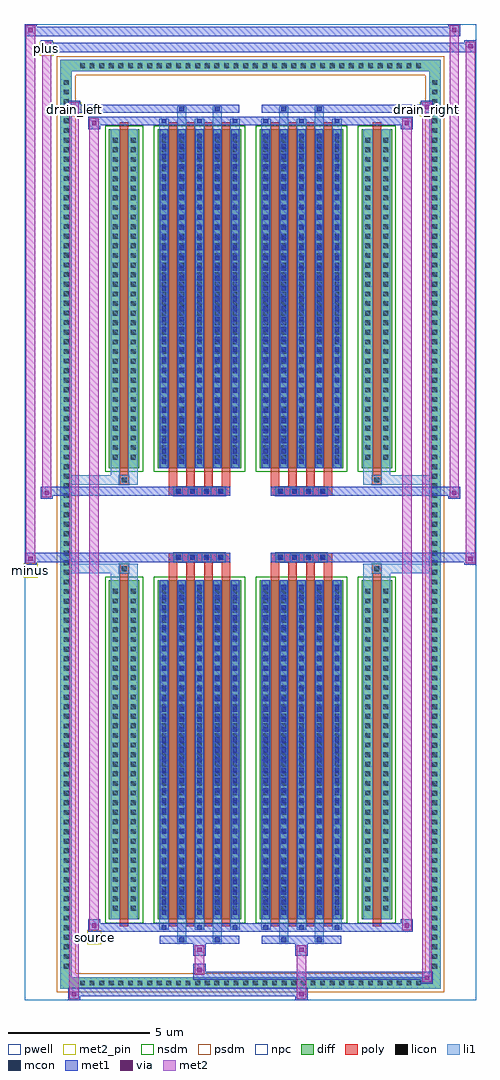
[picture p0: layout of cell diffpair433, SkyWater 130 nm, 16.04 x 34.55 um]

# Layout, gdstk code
import gdstk
lib = gdstk.Library(unit=1e-6, precision=5e-09)
def R(c, l, rs):  # rectangles x0, y0, x1, y1
    for r in rs: c.add(gdstk.rectangle(r[:2], r[2:], *l))
def A(c, l, x, y, w, h, nx, ny, dx, dy):  # array of equal rectangles
    R(c, l, [(x+i*dx, y+j*dy, x+i*dx+w, y+j*dy+h) for i in range(nx) for j in range(ny)])
def P(c, l, *ps):  # polygons
    for p in ps: c.add(gdstk.Polygon(p, *l))
pwell = (64, 44)
diff = (65, 20)
poly = (66, 20)
licon = (66, 44)
li1 = (67, 20)
mcon = (67, 44)
met1 = (68, 20)
via = (68, 44)
met2_pin = (69, 16)
met2 = (69, 20)
nsdm = (93, 44)
psdm = (94, 20)
npc = (95, 20)

diffpair433 = lib.new_cell('diffpair433')
R(diffpair433, pwell, [(-8,-16.84,8,17.71), (-5.32,-15.03,-0.01,-0.805), (0.01,-15.03,5.32,-0.805), (-5.32,0.805,-0.01,15.03), (0.01,0.805,5.32,15.03)])
A(diffpair433, diff, -6.155, -16.44, 0.41, 0.41, 36, 2, 0.34, 32.47)
A(diffpair433, diff, -6.73, -15.845, 0.41, 0.41, 1, 93, 0, 0.34)
A(diffpair433, diff, 6.32, -15.845, 0.41, 0.41, 1, 93, 0, 0.34)
R(diffpair433, diff, [(-6.155,-16.44,6.155,-16.03), (-6.73,-15.845,-6.32,15.845), (6.32,-15.845,6.73,15.845), (-5.01,-13.985,-3.93,-1.985), (-3.29,-13.985,-0.32,-1.985), (0.32,-13.985,3.29,-1.985), (3.93,-13.985,5.01,-1.985), (-5.01,1.985,-3.93,13.985), (-3.29,1.985,-0.32,13.985), (0.32,1.985,3.29,13.985), (3.93,1.985,5.01,13.985), (-6.155,16.03,6.155,16.44)])
P(diffpair433, diff, [(6.73,16.44),(-6.73,16.44),(-6.73,-16.03),(-6.32,-16.03),(-6.32,16.03),(6.32,16.03),(6.32,-16.03),(-6.32,-16.03),(-6.73,-16.03),(-6.73,-16.44),(6.73,-16.44)])
A(diffpair433, poly, -2.9, -14.235, 0.3, 12.5, 4, 2, 0.63, 15.97)
A(diffpair433, poly, 0.71, -14.235, 0.3, 12.5, 4, 2, 0.63, 15.97)
A(diffpair433, poly, -2.9, -1.735, 0.3, 0.4, 4, 2, 0.63, 3.07)
A(diffpair433, poly, 0.71, -1.735, 0.3, 0.4, 4, 2, 0.63, 3.07)
A(diffpair433, poly, -2.72, -1.335, 0.33, 0.33, 4, 2, 0.5, 2.34)
A(diffpair433, poly, 0.89, -1.335, 0.33, 0.33, 4, 2, 0.5, 2.34)
R(diffpair433, poly, [(-4.62,-14.235,-4.32,-1.735), (4.32,-14.235,4.62,-1.735), (-4.635,-1.735,-4.305,-1.405), (-4.635,-1.735,-4.305,-1.405), (4.305,-1.735,4.635,-1.405), (4.305,-1.735,4.635,-1.405), (-2.9,-1.335,-0.71,-1.005), (0.71,-1.335,2.9,-1.005), (-2.9,1.005,-0.71,1.335), (0.71,1.005,2.9,1.335), (-4.635,1.405,-4.305,1.735), (-4.635,1.405,-4.305,1.735), (4.305,1.405,4.635,1.735), (4.305,1.405,4.635,1.735), (-4.62,1.735,-4.32,14.235), (4.32,1.735,4.62,14.235)])
A(diffpair433, licon, -6.035, -16.32, 0.17, 0.17, 36, 2, 0.34, 32.47)
A(diffpair433, licon, -6.61, -15.725, 0.17, 0.17, 1, 93, 0, 0.34)
A(diffpair433, licon, 6.44, -15.725, 0.17, 0.17, 1, 93, 0, 0.34)
A(diffpair433, licon, -4.87, -13.68, 0.17, 0.17, 1, 34, 0, 0.34)
A(diffpair433, licon, -4.24, -13.68, 0.17, 0.17, 1, 34, 0, 0.34)
A(diffpair433, licon, -3.15, -13.68, 0.17, 0.17, 5, 34, 0.63, 0.34)
A(diffpair433, licon, 0.46, -13.68, 0.17, 0.17, 5, 34, 0.63, 0.34)
A(diffpair433, licon, 4.07, -13.68, 0.17, 0.17, 1, 34, 0, 0.34)
A(diffpair433, licon, 4.7, -13.68, 0.17, 0.17, 1, 34, 0, 0.34)
A(diffpair433, licon, -2.64, -1.255, 0.17, 0.17, 4, 2, 0.5, 2.34)
A(diffpair433, licon, 0.97, -1.255, 0.17, 0.17, 4, 2, 0.5, 2.34)
A(diffpair433, licon, -4.87, 2.29, 0.17, 0.17, 1, 34, 0, 0.34)
A(diffpair433, licon, -4.24, 2.29, 0.17, 0.17, 1, 34, 0, 0.34)
A(diffpair433, licon, -3.15, 2.29, 0.17, 0.17, 5, 34, 0.63, 0.34)
A(diffpair433, licon, 0.46, 2.29, 0.17, 0.17, 5, 34, 0.63, 0.34)
A(diffpair433, licon, 4.07, 2.29, 0.17, 0.17, 1, 34, 0, 0.34)
A(diffpair433, licon, 4.7, 2.29, 0.17, 0.17, 1, 34, 0, 0.34)
R(diffpair433, licon, [(-4.555,-1.655,-4.385,-1.485), (4.385,-1.655,4.555,-1.485), (-4.555,1.485,-4.385,1.655), (4.385,1.485,4.555,1.655)])
A(diffpair433, li1, -6.115, -16.4, 0.33, 0.33, 36, 2, 0.34, 32.47)
A(diffpair433, li1, -6.69, -15.805, 0.33, 0.33, 1, 93, 0, 0.34)
A(diffpair433, li1, 6.36, -15.805, 0.33, 0.33, 1, 93, 0, 0.34)
A(diffpair433, li1, -3.23, -14.36, 0.33, 0.375, 3, 2, 1.26, 28.345)
A(diffpair433, li1, -3.15, -14.36, 0.17, 0.17, 3, 2, 1.26, 28.55)
A(diffpair433, li1, 0.38, -14.36, 0.33, 0.375, 3, 2, 1.26, 28.345)
A(diffpair433, li1, 0.46, -14.36, 0.17, 0.17, 3, 2, 1.26, 28.55)
A(diffpair433, li1, -3.23, -13.985, 0.33, 12, 5, 2, 0.63, 15.97)
A(diffpair433, li1, 0.38, -13.985, 0.33, 12, 5, 2, 0.63, 15.97)
A(diffpair433, li1, -3.15, -13.83, 0.17, 0.17, 5, 33, 0.63, 0.36)
A(diffpair433, li1, -3.15, -13.83, 0.17, 11.69, 5, 2, 0.63, 15.97)
A(diffpair433, li1, 0.46, -13.83, 0.17, 0.17, 5, 33, 0.63, 0.36)
A(diffpair433, li1, 0.46, -13.83, 0.17, 11.69, 5, 2, 0.63, 15.97)
A(diffpair433, li1, -4.95, -13.76, 0.33, 0.33, 1, 34, 0, 0.34)
A(diffpair433, li1, -4.32, -13.76, 0.33, 0.33, 1, 34, 0, 0.34)
A(diffpair433, li1, -3.23, -13.76, 0.33, 0.33, 5, 34, 0.63, 0.34)
A(diffpair433, li1, 0.38, -13.76, 0.33, 0.33, 5, 34, 0.63, 0.34)
A(diffpair433, li1, 3.99, -13.76, 0.33, 0.33, 1, 34, 0, 0.34)
A(diffpair433, li1, 4.62, -13.76, 0.33, 0.33, 1, 34, 0, 0.34)
A(diffpair433, li1, -2.72, -1.335, 0.33, 0.33, 4, 2, 0.5, 2.34)
A(diffpair433, li1, 0.89, -1.335, 0.33, 0.33, 4, 2, 0.5, 2.34)
A(diffpair433, li1, -3.15, 2.14, 0.17, 0.17, 5, 33, 0.63, 0.36)
A(diffpair433, li1, 0.46, 2.14, 0.17, 0.17, 5, 33, 0.63, 0.36)
A(diffpair433, li1, -4.95, 2.21, 0.33, 0.33, 1, 34, 0, 0.34)
A(diffpair433, li1, -4.32, 2.21, 0.33, 0.33, 1, 34, 0, 0.34)
A(diffpair433, li1, -3.23, 2.21, 0.33, 0.33, 5, 34, 0.63, 0.34)
A(diffpair433, li1, 0.38, 2.21, 0.33, 0.33, 5, 34, 0.63, 0.34)
A(diffpair433, li1, 3.99, 2.21, 0.33, 0.33, 1, 34, 0, 0.34)
A(diffpair433, li1, 4.62, 2.21, 0.33, 0.33, 1, 34, 0, 0.34)
R(diffpair433, li1, [(-6.73,-16.44,-6.32,-16.03), (-6.73,-16.44,-6.32,-16.03), (-6.32,-16.44,6.32,-16.03), (6.32,-16.44,6.73,-16.03), (6.32,-16.44,6.73,-16.03), (-6.73,-16.03,-6.32,16.03), (6.32,-16.03,6.73,16.03), (-2.6,-14.79,-2.27,-13.985), (-2.52,-14.79,-2.35,-14.62), (-1.34,-14.79,-1.01,-13.985), (-1.26,-14.79,-1.09,-14.62), (1.01,-14.79,1.34,-13.985), (1.09,-14.79,1.26,-14.62), (2.27,-14.79,2.6,-13.985), (2.35,-14.79,2.52,-14.62), (-4.95,-13.985,-4.62,-1.985), (-4.32,-13.985,-3.99,-1.985), (3.99,-13.985,4.32,-1.985), (4.62,-13.985,4.95,-1.985), (-4.95,-1.985,-4.62,-1.405), (-4.32,-1.985,-3.99,-1.405), (3.99,-1.985,4.32,-1.405), (4.62,-1.985,4.95,-1.405), (-6.73,-1.735,-4.635,-1.405), (-4.95,-1.735,-4.635,-1.405), (-4.635,-1.735,-4.305,-1.405), (-4.305,-1.735,-3.99,-1.405), (3.99,-1.735,4.305,-1.405), (4.305,-1.735,4.635,-1.405), (4.305,-1.735,6.73,-1.405), (4.635,-1.735,4.95,-1.405), (-6.73,1.405,-4.635,1.735), (-4.95,1.405,-4.635,1.735), (-4.95,1.405,-4.62,1.985), (-4.635,1.405,-4.305,1.735), (-4.32,1.405,-3.99,1.985), (-4.305,1.405,-3.99,1.735), (3.99,1.405,4.305,1.735), (3.99,1.405,4.32,1.985), (4.305,1.405,4.635,1.735), (4.305,1.405,6.73,1.735), (4.62,1.405,4.95,1.985), (4.635,1.405,4.95,1.735), (-4.95,1.985,-4.62,13.985), (-4.32,1.985,-3.99,13.985), (3.99,1.985,4.32,13.985), (4.62,1.985,4.95,13.985), (-2.6,13.985,-2.27,14.79), (-1.34,13.985,-1.01,14.79), (1.01,13.985,1.34,14.79), (2.27,13.985,2.6,14.79), (-2.52,14.62,-2.35,14.79), (-1.26,14.62,-1.09,14.79), (1.09,14.62,1.26,14.79), (2.35,14.62,2.52,14.79), (-6.73,16.03,-6.32,16.44), (-6.73,16.03,-6.32,16.44), (-6.32,16.03,6.32,16.44), (6.32,16.03,6.73,16.44), (6.32,16.03,6.73,16.44)])
A(diffpair433, mcon, -3.15, -14.36, 0.17, 0.17, 3, 2, 1.26, 28.55)
A(diffpair433, mcon, 0.46, -14.36, 0.17, 0.17, 3, 2, 1.26, 28.55)
A(diffpair433, mcon, -3.15, -13.83, 0.17, 0.17, 5, 33, 0.63, 0.36)
A(diffpair433, mcon, 0.46, -13.83, 0.17, 0.17, 5, 33, 0.63, 0.36)
A(diffpair433, mcon, -2.64, -1.255, 0.17, 0.17, 4, 2, 0.5, 2.34)
A(diffpair433, mcon, 0.97, -1.255, 0.17, 0.17, 4, 2, 0.5, 2.34)
A(diffpair433, mcon, -3.15, 2.14, 0.17, 0.17, 5, 33, 0.63, 0.36)
A(diffpair433, mcon, 0.46, 2.14, 0.17, 0.17, 5, 33, 0.63, 0.36)
R(diffpair433, mcon, [(-2.52,-14.79,-2.35,-14.62), (-1.26,-14.79,-1.09,-14.62), (1.09,-14.79,1.26,-14.62), (2.35,-14.79,2.52,-14.62), (-2.52,14.62,-2.35,14.79), (-1.26,14.62,-1.09,14.79), (1.09,14.62,1.26,14.79), (2.35,14.62,2.52,14.79)])
A(diffpair433, met1, -3.21, -14.42, 0.29, 0.29, 3, 2, 1.26, 28.55)
A(diffpair433, met1, 0.4, -14.42, 0.29, 0.29, 3, 2, 1.26, 28.55)
A(diffpair433, met1, -3.21, -13.985, 0.29, 12, 5, 2, 0.63, 15.97)
A(diffpair433, met1, 0.4, -13.985, 0.29, 12, 5, 2, 0.63, 15.97)
A(diffpair433, met1, -3.21, -13.89, 0.29, 0.29, 5, 33, 0.63, 0.36)
A(diffpair433, met1, 0.4, -13.89, 0.29, 0.29, 5, 33, 0.63, 0.36)
A(diffpair433, met1, -2.7, -1.315, 0.29, 0.29, 4, 2, 0.5, 2.34)
A(diffpair433, met1, 0.91, -1.315, 0.29, 0.29, 4, 2, 0.5, 2.34)
A(diffpair433, met1, -3.21, 2.08, 0.29, 0.29, 5, 33, 0.63, 0.36)
A(diffpair433, met1, 0.4, 2.08, 0.29, 0.29, 5, 33, 0.63, 0.36)
R(diffpair433, met1, [(-6.46,-16.84,-6.03,-16.41), (1.59,-16.84,2.02,-16.41), (-6.46,-16.7,2.02,-16.41), (6.03,-16.27,6.46,-15.84), (-2.02,-16.13,6.46,-15.84), (-2.02,-15.99,-1.59,-15.56), (-2.02,-15.28,-1.59,-14.85), (1.59,-15.28,2.02,-14.85), (-3.21,-14.85,-0.4,-14.56), (-2.58,-14.85,-2.29,-14.56), (-1.32,-14.85,-1.03,-14.56), (0.4,-14.85,3.21,-14.56), (1.03,-14.85,1.32,-14.56), (2.29,-14.85,2.58,-14.56), (-5.75,-14.42,-5.32,-13.99), (-5.75,-14.42,-3.21,-14.13), (-3.21,-14.42,-0.4,-14.13), (-0.4,-14.42,0.4,-14.13), (0.4,-14.42,3.21,-14.13), (3.21,-14.42,5.75,-14.13), (5.32,-14.42,5.75,-13.99), (-8,-1.435,-7.57,-1.005), (7.57,-1.435,8,-1.005), (-8,-1.335,-0.71,-1.005), (-2.9,-1.335,-0.71,-1.005), (0.71,-1.335,2.9,-1.005), (0.71,-1.335,8,-1.005), (-7.43,0.905,-7,1.335), (7,0.905,7.43,1.335), (-7.43,1.005,-2.9,1.335), (-2.9,1.005,-0.71,1.335), (0.71,1.005,2.9,1.335), (2.9,1.005,7.43,1.335), (-5.75,13.99,-5.32,14.42), (5.32,13.99,5.75,14.42), (-5.75,14.13,-3.21,14.42), (-3.21,14.13,-0.4,14.42), (-0.4,14.13,0.4,14.42), (0.4,14.13,3.21,14.42), (3.21,14.13,5.75,14.42), (-6.46,14.56,-6.03,14.99), (-6.46,14.56,-3.21,14.85), (-3.21,14.56,-0.4,14.85), (-2.58,14.56,-2.29,14.85), (-1.32,14.56,-1.03,14.85), (0.4,14.56,3.21,14.85), (1.03,14.56,1.32,14.85), (2.29,14.56,2.58,14.85), (3.21,14.56,6.46,14.85), (6.03,14.56,6.46,14.99), (-7.43,16.71,-7,17.14), (-7.43,16.71,-5.32,17.04), (-5.32,16.71,5.32,17.04), (5.32,16.71,8,17.04), (7.57,16.71,8,17.14), (-8,17.28,-7.57,17.71), (-8,17.28,-5.32,17.61), (-5.32,17.28,5.32,17.61), (5.32,17.28,7.43,17.61), (7,17.28,7.43,17.71)])
R(diffpair433, via, [(-6.32,-16.7,-6.17,-16.55), (1.73,-16.7,1.88,-16.55), (6.17,-16.13,6.32,-15.98), (-1.88,-15.85,-1.73,-15.7), (-1.88,-15.14,-1.73,-14.99), (1.73,-15.14,1.88,-14.99), (-5.61,-14.28,-5.46,-14.13), (5.46,-14.28,5.61,-14.13), (-7.86,-1.295,-7.71,-1.145), (7.71,-1.295,7.86,-1.145), (-7.29,1.045,-7.14,1.195), (7.14,1.045,7.29,1.195), (-5.61,14.13,-5.46,14.28), (5.46,14.13,5.61,14.28), (-6.32,14.7,-6.17,14.85), (6.17,14.7,6.32,14.85), (-7.29,16.85,-7.14,17), (7.71,16.85,7.86,17), (-7.86,17.42,-7.71,17.57), (7.14,17.42,7.29,17.57)])
R(diffpair433, met2_pin, [(-5.785,-14.87,-5.285,-14.37), (-8.035,-1.885,-7.535,-1.385), (-6.495,14.44,-5.995,14.94), (5.995,14.44,6.495,14.94), (-7.465,16.59,-6.965,17.09)])
R(diffpair433, met2, [(-6.41,-16.79,-6.08,-16.46), (-6.41,-16.79,-6.08,14.94), (1.64,-16.79,1.97,-16.46), (1.64,-16.46,1.97,-15.23), (6.08,-16.22,6.41,-15.89), (6.08,-16.22,6.41,14.94), (-1.97,-15.94,-1.64,-15.61), (-1.97,-15.61,-1.64,-15.23), (-1.97,-15.23,-1.64,-14.9), (1.64,-15.23,1.97,-14.9), (-5.7,-14.37,-5.37,-14.04), (-5.7,-14.37,-5.37,14.37), (5.37,-14.37,5.7,-14.04), (5.37,-14.37,5.7,14.37), (-7.95,-1.385,-7.62,-1.055), (-7.95,-1.385,-7.62,17.66), (7.62,-1.385,7.95,-1.055), (7.62,-1.385,7.95,17.09), (-7.38,0.955,-7.05,1.285), (-7.38,0.955,-7.05,17.09), (7.05,0.955,7.38,1.285), (7.05,0.955,7.38,17.66), (-5.7,14.04,-5.37,14.37), (5.37,14.04,5.7,14.37), (-6.41,14.61,-6.08,14.94), (6.08,14.61,6.41,14.94), (-7.38,16.76,-7.05,17.09), (7.62,16.76,7.95,17.09), (-7.95,17.33,-7.62,17.66), (7.05,17.33,7.38,17.66)])
P(diffpair433, met2, [(7.95,-1.385),(7.95,-1.385),(7.95,-1.055),(7.95,-1.055)],
  [(7.95,16.76),(7.95,16.76),(7.95,17.09),(7.95,17.09)],
  [(-7.62,-1.385),(-7.62,-1.385),(-7.62,-1.055),(-7.62,-1.055)],
  [(-7.62,17.33),(-7.62,17.33),(-7.62,17.66),(-7.62,17.66)],
  [(7.38,0.955),(7.38,0.955),(7.38,1.285),(7.38,1.285)],
  [(7.38,17.33),(7.38,17.33),(7.38,17.66),(7.38,17.66)],
  [(-7.05,0.955),(-7.05,0.955),(-7.05,1.285),(-7.05,1.285)],
  [(-7.05,16.76),(-7.05,16.76),(-7.05,17.09),(-7.05,17.09)],
  [(-6.08,-16.79),(-6.08,-16.79),(-6.08,-16.46),(-6.08,-16.46)],
  [(-6.08,14.61),(-6.08,14.61),(-6.08,14.94),(-6.08,14.94)],
  [(6.41,-16.22),(6.41,-16.22),(6.41,-15.89),(6.41,-15.89)],
  [(6.41,14.61),(6.41,14.61),(6.41,14.94),(6.41,14.94)],
  [(-5.37,-14.37),(-5.37,-14.37),(-5.37,-14.04),(-5.37,-14.04)],
  [(-5.37,14.04),(-5.37,14.04),(-5.37,14.37),(-5.37,14.37)],
  [(5.7,-14.37),(5.7,-14.37),(5.7,-14.04),(5.7,-14.04)],
  [(5.7,14.04),(5.7,14.04),(5.7,14.37),(5.7,14.37)])
R(diffpair433, nsdm, [(-5.14,-14.115,-3.8,-1.855), (-3.42,-14.115,-0.19,-1.855), (0.19,-14.115,3.42,-1.855), (3.8,-14.115,5.14,-1.855), (-5.14,1.855,-3.8,14.115), (-3.42,1.855,-0.19,14.115), (0.19,1.855,3.42,14.115), (3.8,1.855,5.14,14.115)])
P(diffpair433, psdm, [(6.86,16.57),(-6.86,16.57),(-6.86,-15.9),(-6.19,-15.9),(-6.19,15.9),(6.19,15.9),(6.19,-15.9),(-6.19,-15.9),(-6.86,-15.9),(-6.86,-16.57),(6.86,-16.57)])
A(diffpair433, npc, -2.74, -1.355, 0.37, 0.37, 4, 2, 0.5, 2.34)
A(diffpair433, npc, 0.87, -1.355, 0.37, 0.37, 4, 2, 0.5, 2.34)
R(diffpair433, npc, [(-4.655,-1.755,-4.285,-1.385), (4.285,-1.755,4.655,-1.385), (-2.74,-1.355,-1.87,-0.985), (-2.74,-1.355,-1.87,-0.985), (-2.24,-1.355,-1.37,-0.985), (-2.24,-1.355,-1.37,-0.985), (-1.74,-1.355,-0.87,-0.985), (-1.74,-1.355,-0.87,-0.985), (0.87,-1.355,1.74,-0.985), (0.87,-1.355,1.74,-0.985), (1.37,-1.355,2.24,-0.985), (1.37,-1.355,2.24,-0.985), (1.87,-1.355,2.74,-0.985), (1.87,-1.355,2.74,-0.985), (-2.74,0.985,-1.87,1.355), (-2.74,0.985,-1.87,1.355), (-2.24,0.985,-1.37,1.355), (-2.24,0.985,-1.37,1.355), (-1.74,0.985,-0.87,1.355), (-1.74,0.985,-0.87,1.355), (0.87,0.985,1.74,1.355), (0.87,0.985,1.74,1.355), (1.37,0.985,2.24,1.355), (1.37,0.985,2.24,1.355), (1.87,0.985,2.74,1.355), (1.87,0.985,2.74,1.355), (-4.655,1.385,-4.285,1.755), (4.285,1.385,4.655,1.755)])
diffpair433.add(gdstk.Label('minus', (-7.785,-1.635), layer=69, texttype=5))
diffpair433.add(gdstk.Label('drain_right', (6.245,14.69), layer=69, texttype=5))
diffpair433.add(gdstk.Label('drain_left', (-6.245,14.69), layer=69, texttype=5))
diffpair433.add(gdstk.Label('source', (-5.535,-14.62), layer=69, texttype=5))
diffpair433.add(gdstk.Label('plus', (-7.215,16.84), layer=69, texttype=5))

lib.write_gds('diffpair433.gds')
